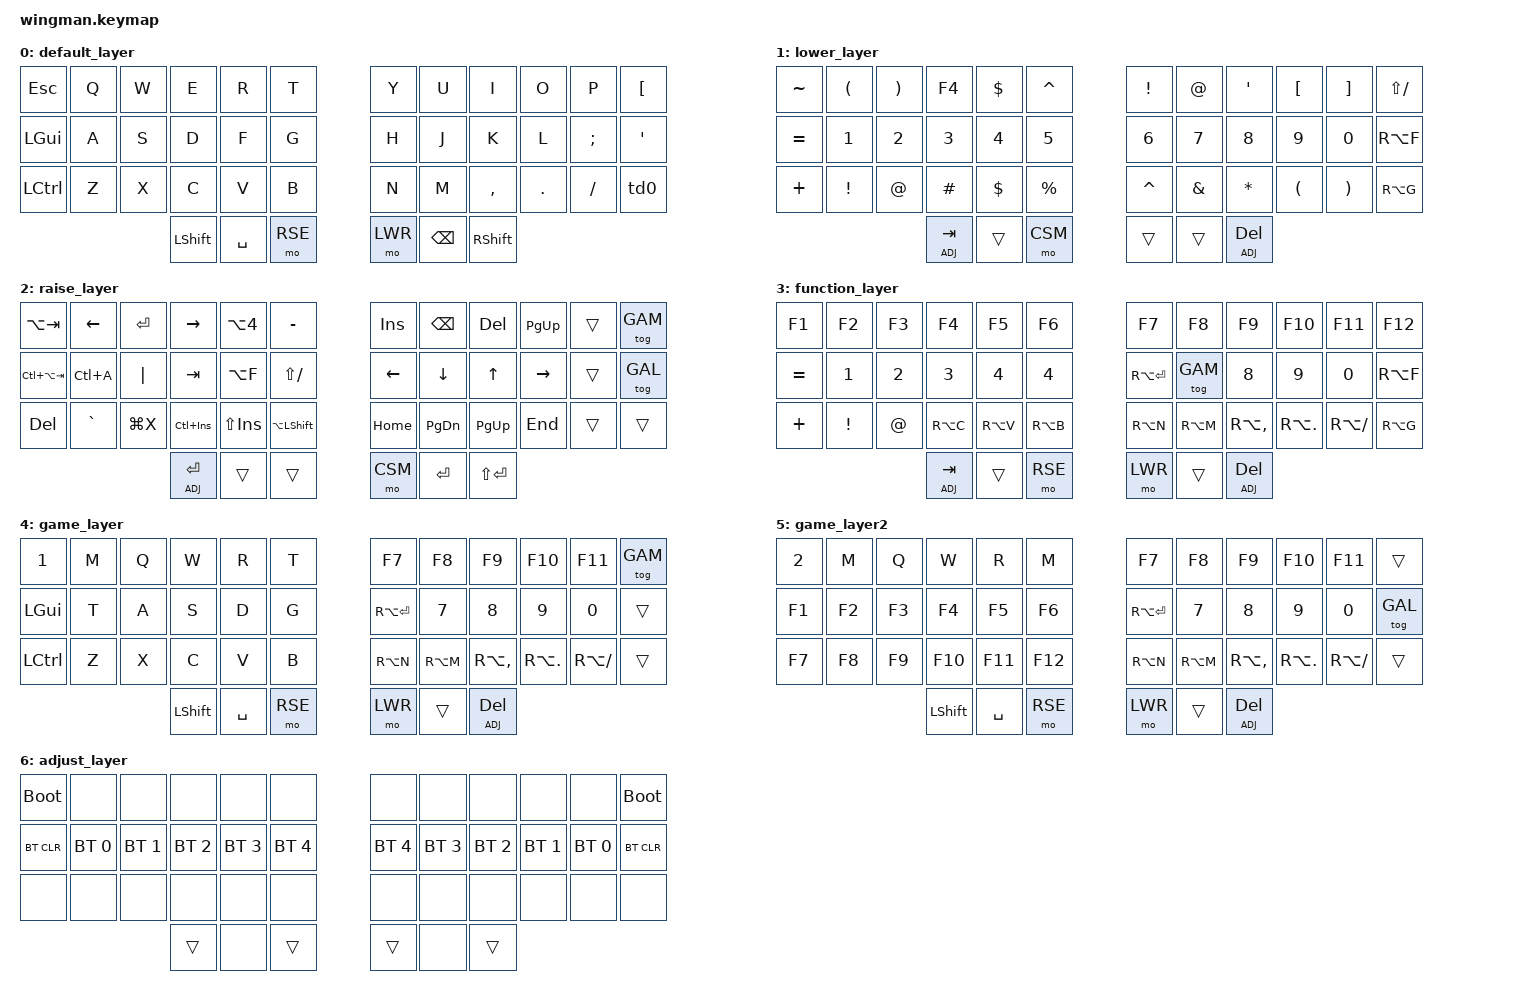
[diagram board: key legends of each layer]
/*
 * Copyright (c) 2020 The ZMK Contributors
 *
 * SPDX-License-Identifier: MIT
 */

#include <behaviors.dtsi>
#include <dt-bindings/zmk/keys.h>
#include <dt-bindings/zmk/bt.h>
#include "keys_de.h"	
#include <dt-bindings/zmk/outputs.h>  

#define DEF 0
#define LWR 1
#define RSE 2
#define CSM 3
#define GAM 4
#define GAL 5
#define ADJ 6

&lt {
    tapping-term-ms = <300>;
};

/ {
        behaviors {
            td0: tap_dance_0 {
                compatible = "zmk,behavior-tap-dance";
                #binding-cells = <0>;
                tapping-term-ms = <200>;
                bindings = <&kp RBKT>, <&kp EQUAL>, <&kp PLUS>;
            };
        };

        combos {
            compatible = "zmk,combos";
    
            fourth_layer_combo {
                key-positions = <37 40>;  
                timeout-ms = <50>;         
                layers = <0>;               
                bindings = <&mo 3>;         
            };
        };


        keymap {
                compatible = "zmk,keymap";
	
                default_layer {
//      -----------------------------------------------------------------------------------------------------------------------------------------------------------------------------------------------
        // |    ESC      |      Q      |      W      |      E      |      R      |      T      |                  |      Y      |      U      |      I      |      O      |      P      |      [      |
        // |    LGUI     |      A      |      S      |      D      |      F      |      G      |                  |      H      |      J      |      K      |      L      |      ;      |      '      |
        // |    LCTL     |      Z      |      X      |      C      |      V      |      B      |                  |      N      |      M      |      ,      |      .      |      /      |      ]      |
        //                                           |     SHFT    |    SPACE    |     RSE     |                  |     LWR     |     BSPC    |     SHFT    |
        bindings = <
            &kp ESC          &kp Q         &kp W         &kp E         &kp R         &kp T                            &kp Y         &kp U          &kp I       &kp O          &kp P        &kp LBKT
            &kp LGUI         &kp A         &kp S         &kp D         &kp F         &kp G                            &kp H         &kp J          &kp K       &kp L         &kp SEMI      &kp SQT
            &kp LCTRL        &kp Z         &kp X         &kp C         &kp V         &kp B                            &kp N         &kp M        &kp COMMA    &kp DOT        &kp FSLH      &td0           
                                                        &kp LSHFT     &kp SPACE      &mo RSE                          &mo LWR       &kp BSPC      &kp RSHFT
                   >;
                };
                lower_layer {
        // --------------------------------------------------------------------------------------------------------------------------------------------------------------------------------------------
        // |      ~      |      (      |      )      |      F4     |      ;      |      :      |                  |      !      |      "      |      Э      |      Х      |      Ъ      |      ,      |
        // |      =      |      1      |      2      |      3      |      4      |      5      |                  |      6      |      7      |      8      |      9      |      0      |     A+F     |
        // |      +      |      !      |      @      |      #      |      $      |      %      |                  |      ^      |      &      |      *      |      (      |      )      |      -      |
        //                                           |             |             | Custom Layer|                  |             |             |             |
        bindings = <
            &kp TILDE     &kp LPAR      &kp RPAR       &kp F4       &kp DLLR      &kp CARET                         &kp EXCL      &kp AT       &kp SQT       &kp LBKT      &kp RBKT      &kp LS(FSLH)  
            &kp EQUAL      &kp N1        &kp N2        &kp N3        &kp N4       &kp N5                            &kp N6        &kp N7        &kp N8        &kp N9        &kp N0       &kp RA(F)
            &kp PLUS       &kp EXCL      &kp AT       &kp HASH      &kp DLLR      &kp PRCNT                         &kp CARET     &kp AMPS      &kp STAR      &kp LPAR      &kp RPAR      &kp RA(G)
                                                     &lt ADJ TAB    &trans        &mo CSM                           &trans        &trans      &lt ADJ DEL
                   >;
                };

                raise_layer {
        // --------------------------------------------------------------------------------------------------------------------------------------------------------------------------------------------
        // |  Alt+Tab    |    Alt+F1   |     Alt+F2  |    Alt+3    |    Alt+4    |    MINUS    |                  |     INS     |     BSPC    |     DEL     |      PGUP   |     SCLK    |     CLCK    |
        // |&kp LA(LSHFT)|     C+a     |       |     |     TAB     |    Alt+F    |      ,      |                  |     LEFT    |     DOWN    |     UP      |      RGHT   |     INS     |     APP     |
        // |             |      ~      |     Win+x   |  Ctrl+Ins   |  Shift+Ins  |     A+S     |                  |     HOME    |     PGDN    |     PGUP    |      END    |     PAUS    |             |
        //                                           |     ADJ     |             |             |                  | Custom Layer|             |             |
        bindings = <
            &kp LA(TAB)    &kp LEFT      &kp ENTER     &kp RIGHT    &kp LA(N4)    &kp MINUS                        &kp INS       &kp BSPC       &kp DEL      &kp PG_UP     &trans          &tog GAM
            &kp LC(LA(TAB))  &kp LC(A)     &kp PIPE      &kp TAB      &kp LA(F)     &kp LS(FSLH)                   &kp LEFT      &kp DOWN       &kp UP       &kp RIGHT     &trans          &tog GAL
            &kp DEL      &kp GRAVE     &kp LG(X)     &kp LC(INS)  &kp LS(INS)   &kp LA(LSHFT)                      &kp HOME      &kp PG_DN      &kp PG_UP    &kp END       &trans          &trans
                                                     &lt ADJ RET    &trans         &trans                          &mo CSM       &kp ENTER      &kp LS(ENTER)
                   >;
                };

                function_layer{
        // --------------------------------------------------------------------------------------------------------------------------------------------------------------------------------------------
        // |      F1     |      F2     |      F3     |      F4     |      F5     |      F6     |                  |      F7     |      F8     |      F9     |     F10     |     F11     |     F12     |
        // |      =      |      1      |      2      |      3      |      4      |     GAM     |                  |  ALT+ENTER  |      7      |      8      |      9      |      0      |     A+F     |
        // |      +      |      !      |      @      |      #      |      $      |      %      |                  |    ALT+N    |    ALT+M    |      *      |      (      |      )      |      -      |
        //                                           |             |             |             |                  |             |             |             |
        bindings = <
            &kp F1        &kp F2         &kp F3        &kp F4        &kp F5        &kp F6                          &kp F7         &kp F8        &kp F9        &kp F10      &kp F11       &kp F12  
            &kp EQUAL      &kp N1         &kp N2        &kp N3        &kp N4        &kp N4                          &kp RA(ENTER)  &tog GAM        &kp N8        &kp N9       &kp N0        &kp RA(F)
            &kp PLUS       &kp EXCL       &kp AT       &kp RA(C)     &kp RA(V)      &kp RA(B)                       &kp RA(N)      &kp RA(M)   &kp RA(COMMA) &kp RA(DOT)  &kp RA(FSLH)    &kp RA(G)
                                                       &lt ADJ TAB     &trans       &mo RSE                         &mo LWR         &trans      &lt ADJ DEL
                   >;
                };

                game_layer {
        // --------------------------------------------------------------------------------------------------------------------------------------------------------------------------------------------
        // |      1      |             |             |             |             |             |                  |             |             |             |             |             |             |
        // |             |             |             |             |             |             |                  |             |             |             |             |             |             |
        // |             |             |             |             |             |             |                  |             |             |             |             |             |             |
        //                                           |             |             |             |                  |             |             |             |
        bindings = <
            &kp N1          &kp M         &kp Q         &kp W         &kp R         &kp T                        &kp F7         &kp F8        &kp F9        &kp F10        &kp F11        &tog GAM
            &kp LGUI         &kp T         &kp A         &kp S         &kp D         &kp G                        &kp RA(ENTER)  &kp N7        &kp N8        &kp N9         &kp N0        &trans
            &kp LCTRL        &kp Z         &kp X         &kp C         &kp V         &kp B                        &kp RA(N)      &kp RA(M)   &kp RA(COMMA)  &kp RA(DOT)  &kp RA(FSLH)     &trans
                                                        &kp LSHFT     &kp SPACE      &mo RSE                      &mo LWR         &trans      &lt ADJ DEL
                   >;
                };

                game_layer2 {
        // --------------------------------------------------------------------------------------------------------------------------------------------------------------------------------------------
        // |      2      |             |             |             |             |             |                  |             |             |             |             |             |             |
        // |             |             |             |             |             |             |                  |             |             |             |             |             |             |
        // |             |             |             |             |             |             |                  |             |             |             |             |             |             |
        //                                           |             |             |             |                  |             |             |             |
        bindings = <
            &kp N2          &kp M         &kp Q         &kp W         &kp R         &kp M                          &kp F7         &kp F8        &kp F9        &kp F10        &kp F11       &trans
            &kp F1          &kp F2         &kp F3        &kp F4        &kp F5        &kp F6                        &kp RA(ENTER)  &kp N7        &kp N8        &kp N9         &kp N0        &tog GAL
            &kp F7        &kp F8         &kp F9        &kp F10        &kp F11        &kp F12                       &kp RA(N)      &kp RA(M)   &kp RA(COMMA)  &kp RA(DOT)  &kp RA(FSLH)     &trans
                                                        &kp LSHFT     &kp SPACE      &mo RSE                      &mo LWR         &trans      &lt ADJ DEL
                   >;
                };
                adjust_layer {
        // --------------------------------------------------------------------------------------------------------------------------------------------------------------------------------------------
        // |     BLDR    |             |             |             |             |             |                  |             |             |             |             |             |    BLDR     |
        // |     BTCLR   |    BT0      |     BT1     |     BT2     |     BT3     |     BT4     |                  |     BT4     |     BT3     |     BT2     |     BT1     |     BT0     |    BTCLR    |
        // |             |             |             |             |             |             |                  |             |             |             |             |             |             |
        //                                           |             |             |             |                  |             |             |             |
        bindings = <
              &bootloader     &none          &none         &none         &none         &none                            &none         &none         &none         &none         &none      &bootloader
              &bt BT_CLR   &bt BT_SEL 0  &bt BT_SEL 1  &bt BT_SEL 2  &bt BT_SEL 3  &bt BT_SEL 4                    &bt BT_SEL 4   &bt BT_SEL 3  &bt BT_SEL 2  &bt BT_SEL 1  &bt BT_SEL 0   &bt BT_CLR
              &none        &none          &none         &none         &none         &none                            &none         &none         &none         &none         &none         &none
                                                        &trans        &none         &trans                           &trans        &none         &trans
                   >;
                };
        };
};
